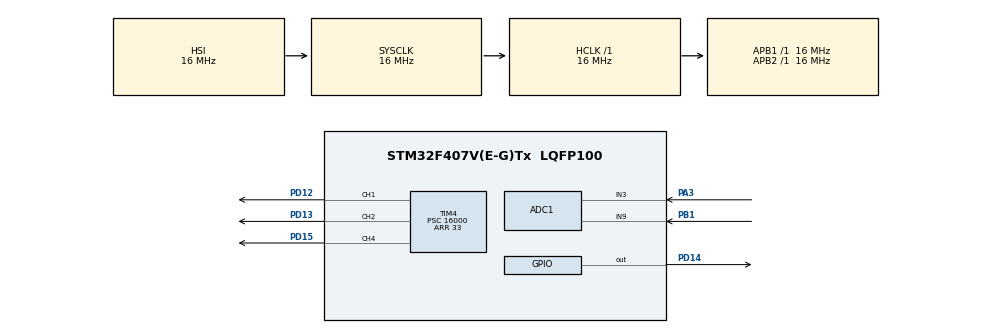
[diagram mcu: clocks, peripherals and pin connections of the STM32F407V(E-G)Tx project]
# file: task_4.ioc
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ADC1.Channel-6\#ChannelRegularConversion=ADC_CHANNEL_TEMPSENSOR
ADC1.Channel-7\#ChannelRegularConversion=ADC_CHANNEL_9
ADC1.Channel-8\#ChannelRegularConversion=ADC_CHANNEL_3
ADC1.ClockPrescaler=ADC_CLOCK_SYNC_PCLK_DIV8
ADC1.ContinuousConvMode=DISABLE
ADC1.EOCSelection=ADC_EOC_SEQ_CONV
ADC1.NbrOfConversion=3
ADC1.NbrOfConversionFlag=1
ADC1.Rank-6\#ChannelRegularConversion=1
ADC1.Rank-7\#ChannelRegularConversion=2
ADC1.Rank-8\#ChannelRegularConversion=3
ADC1.SamplingTime-6\#ChannelRegularConversion=ADC_SAMPLETIME_480CYCLES
ADC1.SamplingTime-7\#ChannelRegularConversion=ADC_SAMPLETIME_480CYCLES
ADC1.SamplingTime-8\#ChannelRegularConversion=ADC_SAMPLETIME_480CYCLES
ADC1.ScanConvMode=ENABLE
ADC1.master=1
Dma.ADC1.0.Direction=DMA_PERIPH_TO_MEMORY
Dma.ADC1.0.FIFOMode=DMA_FIFOMODE_DISABLE
Dma.ADC1.0.Instance=DMA2_Stream0
Dma.ADC1.0.MemDataAlignment=DMA_MDATAALIGN_HALFWORD
Dma.ADC1.0.MemInc=DMA_MINC_ENABLE
Dma.ADC1.0.Mode=DMA_CIRCULAR
Dma.ADC1.0.PeriphDataAlignment=DMA_PDATAALIGN_HALFWORD
Dma.ADC1.0.PeriphInc=DMA_PINC_DISABLE
Dma.ADC1.0.Priority=DMA_PRIORITY_LOW
Dma.Request0=ADC1
Mcu.Family=STM32F4
Mcu.Name=STM32F407V(E-G)Tx
Mcu.Package=LQFP100
NVIC.DMA2_Stream0_IRQn=true\:0\:0\:false\:false\:true\:false\:true\:true
NVIC.PriorityGroup=NVIC_PRIORITYGROUP_4
NVIC.TIM4_IRQn=true\:0\:0\:false\:false\:true\:true\:true\:true
PA3.Signal=ADCx_IN3
PB1.Signal=ADCx_IN9
PD12.Signal=S_TIM4_CH1
PD13.Signal=S_TIM4_CH2
PD14.Signal=GPIO_Output
PD15.Signal=S_TIM4_CH4
ProjectManager.HeapSize=0x200
ProjectManager.StackSize=0x400
ProjectManager.TargetToolchain=STM32CubeIDE
RCC.AHBFreq_Value=16000000
RCC.APB1Freq_Value=16000000
RCC.APB1TimFreq_Value=16000000
RCC.APB2Freq_Value=16000000
RCC.APB2TimFreq_Value=16000000
RCC.CortexFreq_Value=16000000
RCC.HCLKFreq_Value=16000000
RCC.HSE_VALUE=8000000
RCC.HSI_VALUE=16000000
RCC.LSE_VALUE=32768
RCC.SYSCLKFreq_VALUE=16000000
RCC.VCOOutputFreq_Value=192000000
SH.ADCx_IN3.0=ADC1_IN3,IN3
SH.ADCx_IN9.0=ADC1_IN9,IN9
SH.S_TIM4_CH1.0=TIM4_CH1,PWM Generation1 CH1
SH.S_TIM4_CH2.0=TIM4_CH2,PWM Generation2 CH2
SH.S_TIM4_CH4.0=TIM4_CH4,PWM Generation4 CH4
TIM4.AutoReloadPreload=TIM_AUTORELOAD_PRELOAD_ENABLE
TIM4.Channel-PWM\ Generation1\ CH1=TIM_CHANNEL_1
TIM4.Channel-PWM\ Generation2\ CH2=TIM_CHANNEL_2
TIM4.Channel-PWM\ Generation4\ CH4=TIM_CHANNEL_4
TIM4.Period=33
TIM4.Prescaler=16000
VP_ADC1_TempSens_Input.Mode=IN-TempSens
VP_TIM4_VS_ClockSourceINT.Mode=Internal
board=custom

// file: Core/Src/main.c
/* USER CODE BEGIN Header */
/**
  ******************************************************************************
  * @file           : main.c
  * @brief          : Main program body
  ******************************************************************************
  * @attention
  *
  * Copyright (c) 2023 STMicroelectronics.
  * All rights reserved.
  *
  * This software is licensed under terms that can be found in the LICENSE file
  * in the root directory of this software component.
  * If no LICENSE file comes with this software, it is provided AS-IS.
  *
  ******************************************************************************
  */
/* USER CODE END Header */
#include "main.h"

/* USER CODE BEGIN Includes */
#include "UsrSrc/adc_driver.h"
/* USER CODE END Includes */

ADC_HandleTypeDef hadc1;
DMA_HandleTypeDef hdma_adc1;

TIM_HandleTypeDef htim4;

/* USER CODE BEGIN PV */
extern volatile uint16_t	adcResultsDMA[CHANNEL_COUNT];
extern volatile int			adcConversionComplete;
/* USER CODE END PV */

void SystemClock_Config(void);
static void MX_GPIO_Init(void);
static void MX_DMA_Init(void);
static void MX_TIM4_Init(void);
static void MX_ADC1_Init(void);

int main(void)
{

  /* MCU Configuration--------------------------------------------------------*/

  /* Reset of all peripherals, Initializes the Flash interface and the Systick. */
  HAL_Init();

  /* Configure the system clock */
  SystemClock_Config();

  /* Initialize all configured peripherals */
  MX_GPIO_Init();
  MX_DMA_Init();
  MX_TIM4_Init();
  MX_ADC1_Init();

  /* Infinite loop */
  /* USER CODE BEGIN WHILE */

  HAL_ADC_Start_DMA(&hadc1, (uint32_t*)adcResultsDMA, CHANNEL_COUNT);
  while(adcConversionComplete == 0) {
  }
  adcConversionComplete = 0;

  init_adc(&htim4);

  while (1)
  {
	  HAL_ADC_Start_DMA(&hadc1, (uint32_t*)adcResultsDMA, CHANNEL_COUNT);
	  while(adcConversionComplete == 0) {
	  }
	  adcConversionComplete = 0;

	  adc_iter();
    /* USER CODE END WHILE */

  }
}

void SystemClock_Config(void)
{
  RCC_OscInitTypeDef RCC_OscInitStruct = {0};
  RCC_ClkInitTypeDef RCC_ClkInitStruct = {0};

  /** Configure the main internal regulator output voltage
  */
  __HAL_RCC_PWR_CLK_ENABLE();
  __HAL_PWR_VOLTAGESCALING_CONFIG(PWR_REGULATOR_VOLTAGE_SCALE1);

  /** Initializes the RCC Oscillators according to the specified parameters
  * in the RCC_OscInitTypeDef structure.
  */
  RCC_OscInitStruct.OscillatorType = RCC_OSCILLATORTYPE_HSI;
  RCC_OscInitStruct.HSIState = RCC_HSI_ON;
  RCC_OscInitStruct.HSICalibrationValue = RCC_HSICALIBRATION_DEFAULT;
  RCC_OscInitStruct.PLL.PLLState = RCC_PLL_NONE;
  if (HAL_RCC_OscConfig(&RCC_OscInitStruct) != HAL_OK)
  {
    Error_Handler();
  }

  /** Initializes the CPU, AHB and APB buses clocks
  */
  RCC_ClkInitStruct.ClockType = RCC_CLOCKTYPE_HCLK|RCC_CLOCKTYPE_SYSCLK
                              |RCC_CLOCKTYPE_PCLK1|RCC_CLOCKTYPE_PCLK2;
  RCC_ClkInitStruct.SYSCLKSource = RCC_SYSCLKSOURCE_HSI;
  RCC_ClkInitStruct.AHBCLKDivider = RCC_SYSCLK_DIV1;
  RCC_ClkInitStruct.APB1CLKDivider = RCC_HCLK_DIV1;
  RCC_ClkInitStruct.APB2CLKDivider = RCC_HCLK_DIV1;

  if (HAL_RCC_ClockConfig(&RCC_ClkInitStruct, FLASH_LATENCY_0) != HAL_OK)
  {
    Error_Handler();
  }
}

static void MX_ADC1_Init(void)
{

  ADC_ChannelConfTypeDef sConfig = {0};

  /** Configure the global features of the ADC (Clock, Resolution, Data Alignment and number of conversion)
  */
  hadc1.Instance = ADC1;
  hadc1.Init.ClockPrescaler = ADC_CLOCK_SYNC_PCLK_DIV8;
  hadc1.Init.Resolution = ADC_RESOLUTION_12B;
  hadc1.Init.ScanConvMode = ENABLE;
  hadc1.Init.ContinuousConvMode = DISABLE;
  hadc1.Init.DiscontinuousConvMode = DISABLE;
  hadc1.Init.ExternalTrigConvEdge = ADC_EXTERNALTRIGCONVEDGE_NONE;
  hadc1.Init.ExternalTrigConv = ADC_SOFTWARE_START;
  hadc1.Init.DataAlign = ADC_DATAALIGN_RIGHT;
  hadc1.Init.NbrOfConversion = 3;
  hadc1.Init.DMAContinuousRequests = DISABLE;
  hadc1.Init.EOCSelection = ADC_EOC_SEQ_CONV;
  if (HAL_ADC_Init(&hadc1) != HAL_OK)
  {
    Error_Handler();
  }

  /** Configure for the selected ADC regular channel its corresponding rank in the sequencer and its sample time.
  */
  sConfig.Channel = ADC_CHANNEL_TEMPSENSOR;
  sConfig.Rank = 1;
  sConfig.SamplingTime = ADC_SAMPLETIME_480CYCLES;
  if (HAL_ADC_ConfigChannel(&hadc1, &sConfig) != HAL_OK)
  {
    Error_Handler();
  }

  /** Configure for the selected ADC regular channel its corresponding rank in the sequencer and its sample time.
  */
  sConfig.Channel = ADC_CHANNEL_9;
  sConfig.Rank = 2;
  if (HAL_ADC_ConfigChannel(&hadc1, &sConfig) != HAL_OK)
  {
    Error_Handler();
  }

  /** Configure for the selected ADC regular channel its corresponding rank in the sequencer and its sample time.
  */
  sConfig.Channel = ADC_CHANNEL_3;
  sConfig.Rank = 3;
  if (HAL_ADC_ConfigChannel(&hadc1, &sConfig) != HAL_OK)
  {
    Error_Handler();
  }

}

static void MX_TIM4_Init(void)
{

  TIM_ClockConfigTypeDef sClockSourceConfig = {0};
  TIM_MasterConfigTypeDef sMasterConfig = {0};
  TIM_OC_InitTypeDef sConfigOC = {0};

  htim4.Instance = TIM4;
  htim4.Init.Prescaler = 16000;
  htim4.Init.CounterMode = TIM_COUNTERMODE_UP;
  htim4.Init.Period = 33;
  htim4.Init.ClockDivision = TIM_CLOCKDIVISION_DIV1;
  htim4.Init.AutoReloadPreload = TIM_AUTORELOAD_PRELOAD_ENABLE;
  if (HAL_TIM_Base_Init(&htim4) != HAL_OK)
  {
    Error_Handler();
  }
  sClockSourceConfig.ClockSource = TIM_CLOCKSOURCE_INTERNAL;
  if (HAL_TIM_ConfigClockSource(&htim4, &sClockSourceConfig) != HAL_OK)
  {
    Error_Handler();
  }
  if (HAL_TIM_PWM_Init(&htim4) != HAL_OK)
  {
    Error_Handler();
  }
  sMasterConfig.MasterOutputTrigger = TIM_TRGO_RESET;
  sMasterConfig.MasterSlaveMode = TIM_MASTERSLAVEMODE_DISABLE;
  if (HAL_TIMEx_MasterConfigSynchronization(&htim4, &sMasterConfig) != HAL_OK)
  {
    Error_Handler();
  }
  sConfigOC.OCMode = TIM_OCMODE_PWM1;
  sConfigOC.Pulse = 0;
  sConfigOC.OCPolarity = TIM_OCPOLARITY_HIGH;
  sConfigOC.OCFastMode = TIM_OCFAST_DISABLE;
  if (HAL_TIM_PWM_ConfigChannel(&htim4, &sConfigOC, TIM_CHANNEL_1) != HAL_OK)
  {
    Error_Handler();
  }
  if (HAL_TIM_PWM_ConfigChannel(&htim4, &sConfigOC, TIM_CHANNEL_2) != HAL_OK)
  {
    Error_Handler();
  }
  if (HAL_TIM_PWM_ConfigChannel(&htim4, &sConfigOC, TIM_CHANNEL_4) != HAL_OK)
  {
    Error_Handler();
  }
  HAL_TIM_MspPostInit(&htim4);

}

static void MX_DMA_Init(void)
{

  /* DMA controller clock enable */
  __HAL_RCC_DMA2_CLK_ENABLE();

  /* DMA interrupt init */
  /* DMA2_Stream0_IRQn interrupt configuration */
  HAL_NVIC_SetPriority(DMA2_Stream0_IRQn, 0, 0);
  HAL_NVIC_EnableIRQ(DMA2_Stream0_IRQn);

}

static void MX_GPIO_Init(void)
{
  GPIO_InitTypeDef GPIO_InitStruct = {0};

  /* GPIO Ports Clock Enable */
  __HAL_RCC_GPIOA_CLK_ENABLE();
  __HAL_RCC_GPIOB_CLK_ENABLE();
  __HAL_RCC_GPIOD_CLK_ENABLE();

  /*Configure GPIO pin Output Level */
  HAL_GPIO_WritePin(GPIOD, GPIO_PIN_14, GPIO_PIN_RESET);

  /*Configure GPIO pin : PD14 */
  GPIO_InitStruct.Pin = GPIO_PIN_14;
  GPIO_InitStruct.Mode = GPIO_MODE_OUTPUT_PP;
  GPIO_InitStruct.Pull = GPIO_NOPULL;
  GPIO_InitStruct.Speed = GPIO_SPEED_FREQ_LOW;
  HAL_GPIO_Init(GPIOD, &GPIO_InitStruct);

}

/* USER CODE BEGIN 4 */
void HAL_ADC_ConvCpltCallback(ADC_HandleTypeDef* hadc) {
	if (hadc->Instance == ADC1)
		adcConversionComplete = 1;

	update_intensity();
}
/* USER CODE END 4 */

void Error_Handler(void)
{
  __disable_irq();
  while (1)
  {
  }
}
